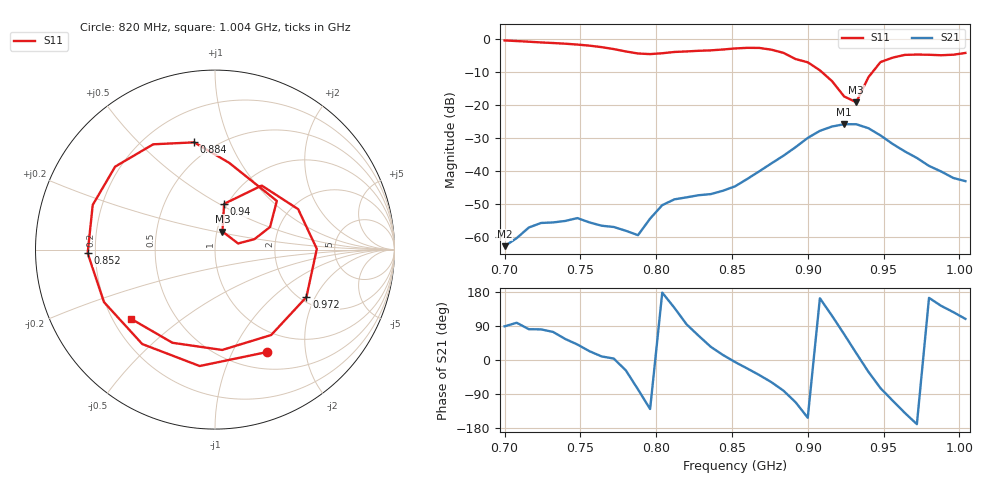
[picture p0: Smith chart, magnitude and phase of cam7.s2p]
# Hz S RI R 50
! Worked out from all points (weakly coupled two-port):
!   39 points, 700 MHz to 1.004 GHz, reference 50 ohm
!   highest |S21| = -25.91 dB at 924 MHz (marker M1); lowest = -62.8 dB at 700 MHz (marker M2)
!   lowest |S11| = -19.3 dB at 932 MHz (marker M3), VSWR 1.24, Z = 53.2 + j10.8 ohm
!   |S11| at or under -10 dB: 909 MHz to 943 MHz (33.95 MHz wide, 3.67 % of centre)
!   S12 and S22 are empty: the file has one direction only
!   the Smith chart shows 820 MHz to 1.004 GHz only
!   S11 on the Smith chart (normalised r, x): 820 MHz: 0.71, -1.37; 852 MHz: 0.17, -0.01; 884 MHz: 0.39, +0.75; 940 MHz: 0.97, +0.53; 972 MHz: 2.16, -1.70; 1.004 GHz: 0.27, -0.33
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7e8  0.7571 0.554  1.41e-05 0.000721  0 0  0 0
7.24e8  0.8399 -0.2468  0.000257 0.0016  0 0  0 0
7.4e8  0.4572 -0.7024  0.000984 0.00143  0 0  0 0
7.56e8  -0.1901 -0.7593  0.00152 0.000649  0 0  0 0
7.72e8  -0.6653 -0.1994  0.0014 9.37e-05  0 0  0 0
7.8e8  -0.5995 0.2216  0.00109 -0.000569  0 0  0 0
7.96e8  0.2333 0.5343  -0.00119 -0.00146  0 0  0 0
8.04e8  0.5689 0.1932  -0.00301 0.000115  0 0  0 0
8.2e8  0.2885 -0.5711  -0.000301 0.00394  0 0  0 0
8.36e8  -0.4054 -0.5261  0.00363 0.00253  0 0  0 0
8.52e8  -0.7095 -0.0199  0.00578 -0.000532  0 0  0 0
8.68e8  -0.5564 0.4622  0.00754 -0.00624  0 0  0 0
8.84e8  -0.1162 0.5975  0.00264 -0.0167  0 0  0 0
9e8  0.3446 0.2712  -0.0278 -0.0146  0 0  0 0
9.08e8  0.3066 0.1259  -0.0384 0.0118  0 0  0 0
9.24e8  0.1288 0.0342  0.0189 0.047  0 0  0 0
9.32e8  0.0414 0.1008  0.0481 0.0156  0 0  0 0
9.4e8  0.051 0.2551  0.0377 -0.0227  0 0  0 0
9.56e8  0.4633 0.2253  -0.00752 -0.0243  0 0  0 0
9.72e8  0.5094 -0.2644  -0.0153 -0.0029  0 0  0 0
9.88e8  0.0401 -0.5591  -0.00778 0.00587  0 0  0 0
1.004e9  -0.4691 -0.3849  -0.00221 0.0066  0 0  0 0
